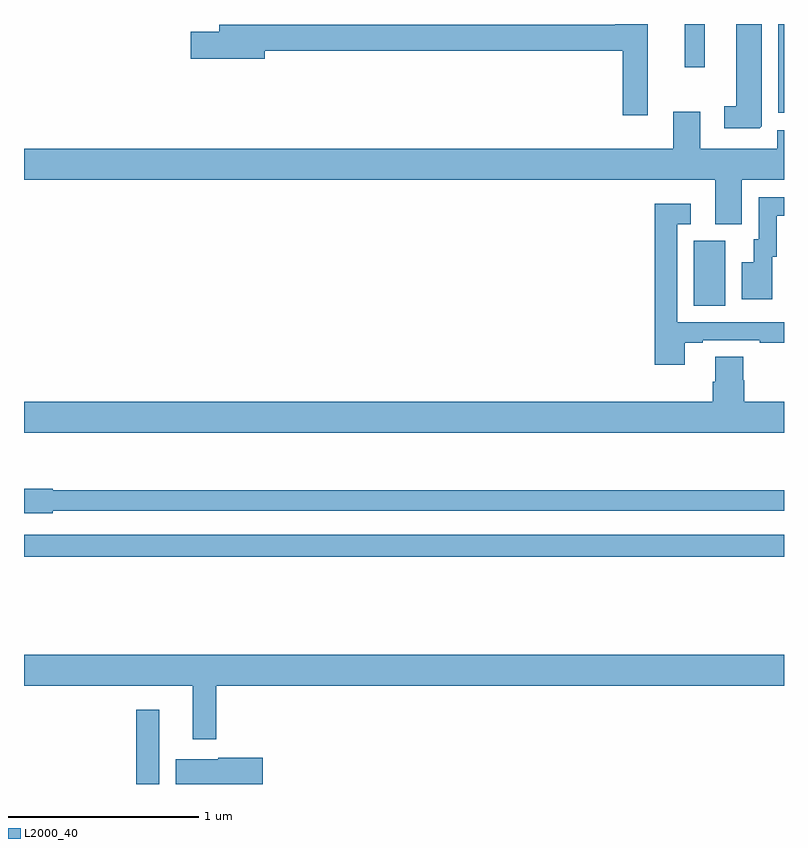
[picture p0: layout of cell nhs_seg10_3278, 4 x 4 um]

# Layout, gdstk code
import gdstk
lib = gdstk.Library(unit=1e-6, precision=1e-09)
def R(c, l, rs):  # rectangles x0, y0, x1, y1
    for r in rs: c.add(gdstk.rectangle(r[:2], r[2:], *l))
def P(c, l, *ps):  # polygons
    for p in ps: c.add(gdstk.Polygon(p, *l))
L2000_40 = (2000, 40)

nhs_seg10_3278 = lib.new_cell('nhs_seg10_3278')
R(nhs_seg10_3278, L2000_40, [(289.59,1266.5,289.711,1266.892), (289,1267.696,293,1267.812), (292.526,1269.016,292.69,1269.36), (292.971,1270.032,293,1270.5), (292.478,1270.272,292.582,1270.5)])
P(nhs_seg10_3278, L2000_40, [(292.282,1270.5),(292.112,1270.5),(292.112,1270.496),(290.027,1270.496),(290.027,1270.46),(289.878,1270.46),(289.878,1270.318),(290.266,1270.318),(290.266,1270.36),(292.151,1270.36),(292.151,1270.02),(292.282,1270.02)],
  [(292.882,1269.961),(292.882,1270.5),(292.748,1270.5),(292.748,1270.067),(292.686,1270.067),(292.686,1269.951),(292.872,1269.951)],
  [(292.777,1269.68),(293,1269.68),(293,1269.942),(292.964,1269.942),(292.964,1269.844),(292.558,1269.844),(292.558,1270.039),(292.418,1270.039),(292.418,1269.844),(289,1269.844),(289,1269.68),(292.637,1269.68),(292.637,1269.445),(292.777,1269.445)],
  [(292.939,1269.276),(292.963,1269.276),(292.963,1269.492),(293,1269.492),(293,1269.588),(292.866,1269.588),(292.866,1269.366),(292.841,1269.366),(292.841,1269.247),(292.778,1269.247),(292.778,1269.051),(292.939,1269.051)],
  [(292.477,1268.823),(292.573,1268.823),(292.573,1268.835),(292.873,1268.835),(292.873,1268.823),(293,1268.823),(293,1268.931),(292.437,1268.931),(292.437,1269.447),(292.51,1269.447),(292.51,1269.553),(292.321,1269.553),(292.321,1268.706),(292.477,1268.706)],
  [(293,1268.512),(292.79,1268.512),(292.79,1268.625),(292.785,1268.625),(292.785,1268.75),(292.637,1268.75),(292.637,1268.618),(292.625,1268.618),(292.625,1268.512),(289,1268.512),(289,1268.348),(293,1268.348)],
  [(289.152,1267.938),(293,1267.938),(293,1268.047),(289.152,1268.047),(289.152,1268.055),(289,1268.055),(289,1267.925),(289.152,1267.925)],
  [(290.011,1267.016),(293,1267.016),(293,1267.18),(289,1267.18),(289,1267.016),(289.889,1267.016),(289.889,1266.735),(290.011,1266.735)],
  [(290.257,1266.639),(290.022,1266.639),(290.022,1266.631),(289.799,1266.631),(289.799,1266.5),(290.257,1266.5)])

lib.write_gds('nhs_seg10_3278.gds')
